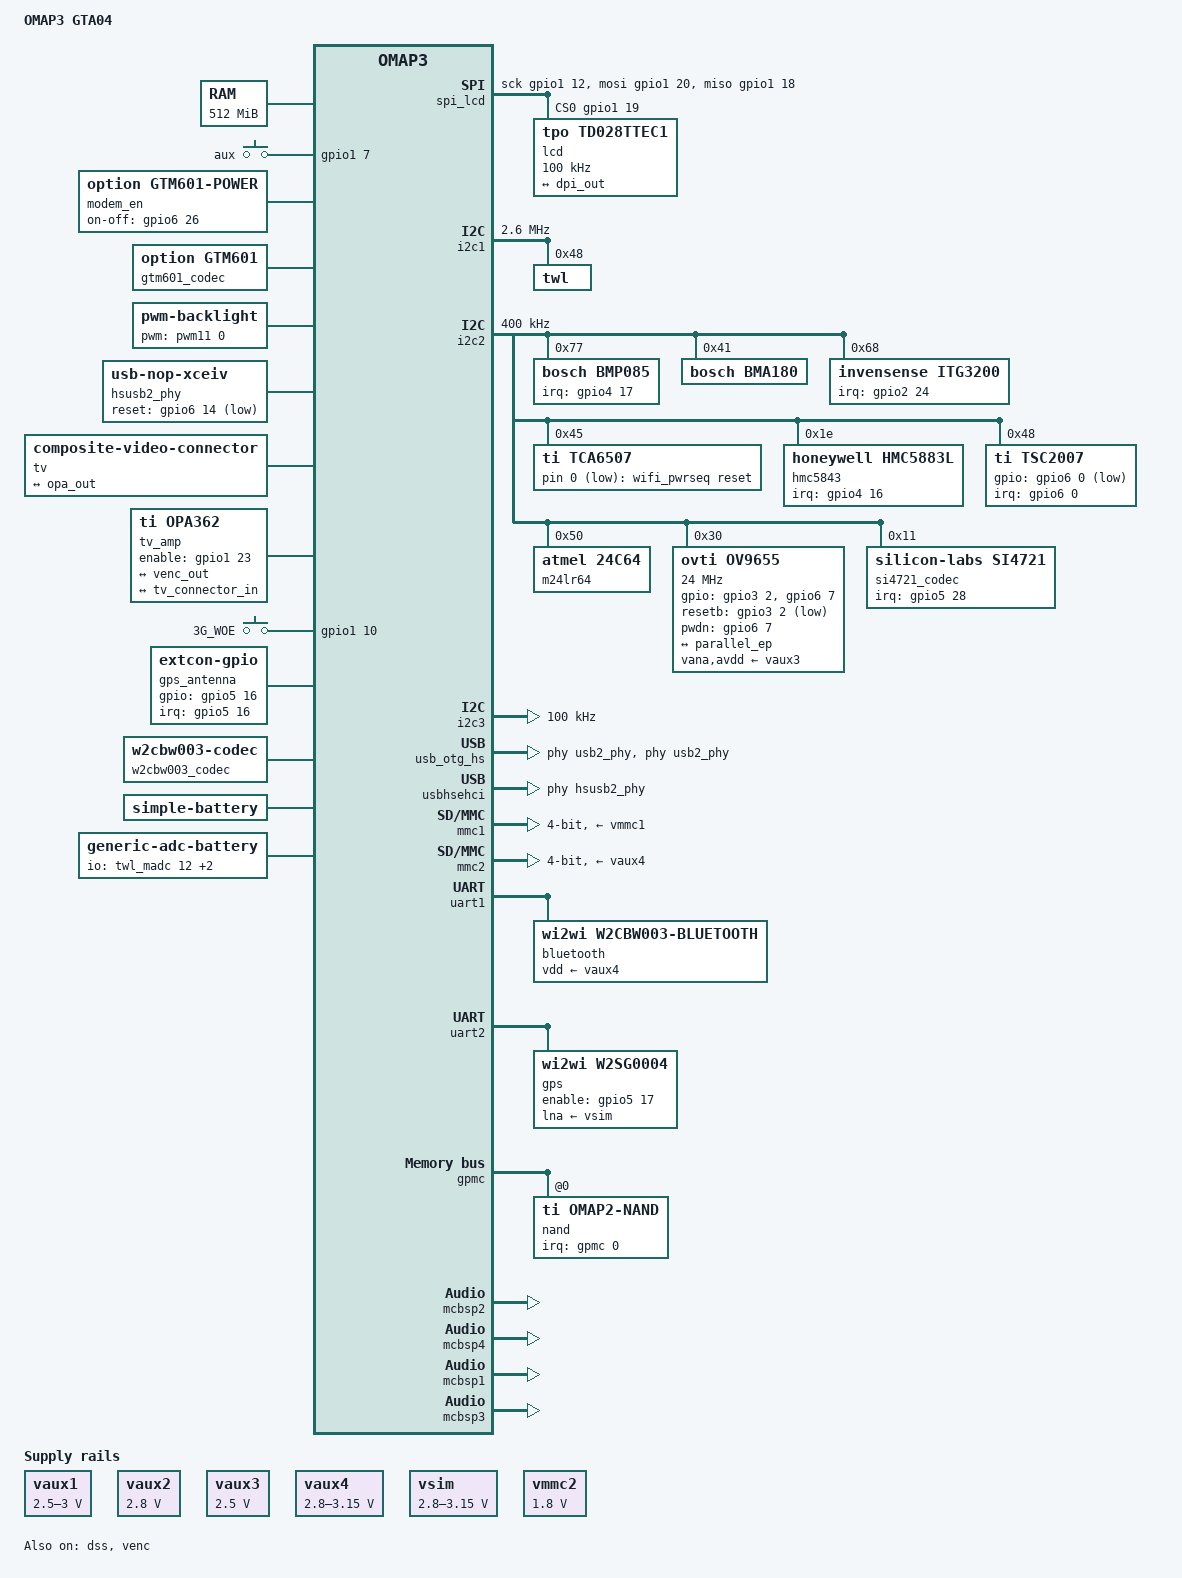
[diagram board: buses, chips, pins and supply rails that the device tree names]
/*
 * Copyright (C) 2013 Marek Belisko <marek@goldelico.com>
 *
 * Based on omap3-beagle-xm.dts
 *
 * This program is free software; you can redistribute it and/or modify
 * it under the terms of the GNU General Public License version 2 as
 * published by the Free Software Foundation.
 */
/dts-v1/;

#include "omap36xx.dtsi"

/ {
	model = "OMAP3 GTA04";
	compatible = "ti,omap3-gta04", "ti,omap36xx", "ti,omap3";

	cpus {
		cpu@0 {
			cpu0-supply = <&vcc>;
		};
	};

	memory@80000000 {
		device_type = "memory";
		reg = <0x80000000 0x20000000>; /* 512 MB */
	};

	aliases {
		display0 = &lcd;
		display1 = &tv0;
	};

	gpio-keys {
		compatible = "gpio-keys";
		// FIXME: pinmux

		aux-button {
			label = "aux";
			linux,code = <169>;
			gpios = <&gpio1 7 GPIO_ACTIVE_HIGH>;
			wakeup-source;
		};
	};

	modem_en: modem { /* control modem power through rfkill */
		compatible = "option,gtm601-power";
		/* compatible = "gemalto,phs8-power" for Neo900/GTA04b7 */
		gpio-controller;
		#gpio-cells = <2>;
		pinctrl-names = "default";
		pinctrl-0 = <&modem_pins>;
		usb-port = <&hsusb2_phy>;
		on-off-gpio = <&gpio6 26 0>;	/* GPIO_186: trigger to power on modem */
		on-indicator-gpio = <0>;		/* n/a on GTA04A3/4 but on A5 */
	};

	sound {
		compatible = "ti,omap-twl4030";
		ti,model = "gta04";

		ti,mcbsp = <&mcbsp2>;
	};

	/* GSM audio */
	sound_telephony {
		compatible = "simple-audio-card";
		simple-audio-card,name = "GTA04 voice";
		simple-audio-card,bitclock-master = <&telephony_link_master>;
		simple-audio-card,frame-master = <&telephony_link_master>;
		simple-audio-card,format = "i2s";
		simple-audio-card,bitclock-inversion;
		simple-audio-card,frame-inversion;
		simple-audio-card,cpu {
			sound-dai = <&mcbsp4>;
		};

		telephony_link_master: simple-audio-card,codec {
			sound-dai = <&gtm601_codec>;
		};
	};

	gtm601_codec: gsm_codec {
		compatible = "option,gtm601";
		#sound-dai-cells = <0>;
	};

	spi_lcd: spi_lcd {
		compatible = "spi-gpio";
		#address-cells = <0x1>;
		#size-cells = <0x0>;
		pinctrl-names = "default";
		pinctrl-0 = <&spi_gpio_pins>;

		gpio-sck = <&gpio1 12 GPIO_ACTIVE_HIGH>;
		gpio-miso = <&gpio1 18 GPIO_ACTIVE_HIGH>;
		gpio-mosi = <&gpio1 20 GPIO_ACTIVE_HIGH>;
		cs-gpios = <&gpio1 19 GPIO_ACTIVE_HIGH>;
		num-chipselects = <1>;

		/* lcd panel */
		lcd: td028ttec1@0 {
			compatible = "tpo,td028ttec1";
			reg = <0>;
			spi-max-frequency = <100000>;
			spi-cpol;
			spi-cpha;

			label = "lcd";
			port {
				lcd_in: endpoint {
					remote-endpoint = <&dpi_out>;
				};
			};
		};
	};

	backlight {
		compatible = "pwm-backlight";
		pwms = <&pwm11 0 12000000 0>;
		pwm-names = "backlight";
		brightness-levels = <0 11 20 30 40 50 60 70 80 90 100>;
		default-brightness-level = <9>;	/* => 90 */
		pinctrl-names = "default";
		pinctrl-0 = <&backlight_pins>;
	};

	pwm11: dmtimer-pwm {
		compatible = "ti,omap-dmtimer-pwm";
		ti,timers = <&timer11>;
		#pwm-cells = <3>;
	};

	hsusb2_phy: hsusb2_phy {
		compatible = "usb-nop-xceiv";
		reset-gpios = <&gpio6 14 GPIO_ACTIVE_LOW>; /* GPIO_174 = reset for USB3322 */
/*		vcc-supply = <&hsusb2_power>; */
	};

	tv0: connector {
		compatible = "composite-video-connector";
		label = "tv";

		port {
			tv_connector_in: endpoint {
				remote-endpoint = <&opa_out>;
			};
		};
	};

	tv_amp: opa362 {
		compatible = "ti,opa362";
		enable-gpios = <&gpio1 23 GPIO_ACTIVE_HIGH>;	/* GPIO_23 to enable video out amplifier */

		ports {
			#address-cells = <1>;
			#size-cells = <0>;

			port@0 {
				reg = <0>;
				opa_in: endpoint {
					remote-endpoint = <&venc_out>;
				};
			};

			port@1 {
				reg = <0>;
				opa_out: endpoint {
					remote-endpoint = <&tv_connector_in>;
				};
			};
		};
	};

	wifi_pwrseq: wifi_pwrseq {
		compatible = "mmc-pwrseq-simple";
		reset-gpios = <&tca6507 0 GPIO_ACTIVE_LOW>;	/* W2CBW003 reset through tca6507 */
	};

};

&omap3_pmx_core {
	pinctrl-names = "default";
	pinctrl-0 = <
			&hsusb2_pins
	>;

	hsusb2_pins: pinmux_hsusb2_pins {
		pinctrl-single,pins = <
			OMAP3_CORE1_IOPAD(0x21d4, PIN_INPUT_PULLDOWN | MUX_MODE3)	/* mcspi1_cs3.hsusb2_data2 */
			OMAP3_CORE1_IOPAD(0x21d6, PIN_INPUT_PULLDOWN | MUX_MODE3)	/* mcspi2_clk.hsusb2_data7 */
			OMAP3_CORE1_IOPAD(0x21d8, PIN_INPUT_PULLDOWN | MUX_MODE3)	/* mcspi2_simo.hsusb2_data4 */
			OMAP3_CORE1_IOPAD(0x21da, PIN_INPUT_PULLDOWN | MUX_MODE3)	/* mcspi2_somi.hsusb2_data5 */
			OMAP3_CORE1_IOPAD(0x21dc, PIN_INPUT_PULLDOWN | MUX_MODE3)	/* mcspi2_cs0.hsusb2_data6 */
			OMAP3_CORE1_IOPAD(0x21de, PIN_INPUT_PULLDOWN | MUX_MODE3)	/* mcspi2_cs1.hsusb2_data3 */
		>;
	};

	uart1_pins: pinmux_uart1_pins {
		pinctrl-single,pins = <
			OMAP3_CORE1_IOPAD(0x2182, PIN_INPUT | MUX_MODE0)		/* uart1_rx.uart1_rx */
			OMAP3_CORE1_IOPAD(0x217c, PIN_OUTPUT | MUX_MODE0)		/* uart1_tx.uart1_tx */
			/* what about rts/cts? */
		>;
	};

	uart2_pins: pinmux_uart2_pins {
		pinctrl-single,pins = <
			OMAP3_CORE1_IOPAD(0x217a, PIN_INPUT | MUX_MODE0)		/* uart2_rx.uart2_rx */
			OMAP3_CORE1_IOPAD(0x2178, PIN_OUTPUT | MUX_MODE0)		/* uart2_tx.uart2_tx */
/* FIXME: should also define GPIO_145 as output */
			/* what about rts/cts? */
		>;
	};

	uart3_pins: pinmux_uart3_pins {
		pinctrl-single,pins = <
			OMAP3_CORE1_IOPAD(0x219e, PIN_INPUT | MUX_MODE0)		/* uart3_rx.uart3_rx */
			OMAP3_CORE1_IOPAD(0x21a0, PIN_OUTPUT | MUX_MODE0)		/* uart3_tx.uart3_tx */
			/* what about rts/cts etc.? */
			/* enable gpio21 as output for DTR */
		>;
	};

	mmc1_pins: pinmux_mmc1_pins {
		pinctrl-single,pins = <
			OMAP3_CORE1_IOPAD(0x2144, PIN_INPUT_PULLUP | MUX_MODE0)		/* sdmmc1_clk.sdmmc1_clk */
			OMAP3_CORE1_IOPAD(0x2146, PIN_INPUT_PULLUP | MUX_MODE0)		/* sdmmc1_cmd.sdmmc1_cmd */
			OMAP3_CORE1_IOPAD(0x2148, PIN_INPUT_PULLUP | MUX_MODE0)		/* sdmmc1_dat0.sdmmc1_dat0 */
			OMAP3_CORE1_IOPAD(0x214a, PIN_INPUT_PULLUP | MUX_MODE0)		/* sdmmc1_dat1.sdmmc1_dat1 */
			OMAP3_CORE1_IOPAD(0x214c, PIN_INPUT_PULLUP | MUX_MODE0)		/* sdmmc1_dat2.sdmmc1_dat2 */
			OMAP3_CORE1_IOPAD(0x214e, PIN_INPUT_PULLUP | MUX_MODE0)		/* sdmmc1_dat3.sdmmc1_dat3 */
		>;
	};

	backlight_pins: backlight_pins_pimnux {
		pinctrl-single,pins = <
			OMAP3_CORE1_IOPAD(0x20ba, MUX_MODE3)		/* gpt11/gpio57 */
		>;
	};

	dss_dpi_pins: pinmux_dss_dpi_pins {
		pinctrl-single,pins = <
			OMAP3_CORE1_IOPAD(0x20d4, PIN_OUTPUT | MUX_MODE0)   /* dss_pclk.dss_pclk */
			OMAP3_CORE1_IOPAD(0x20d6, PIN_OUTPUT | MUX_MODE0)   /* dss_hsync.dss_hsync */
			OMAP3_CORE1_IOPAD(0x20d8, PIN_OUTPUT | MUX_MODE0)   /* dss_vsync.dss_vsync */
			OMAP3_CORE1_IOPAD(0x20da, PIN_OUTPUT | MUX_MODE0)   /* dss_acbias.dss_acbias */
			OMAP3_CORE1_IOPAD(0x20dc, PIN_OUTPUT | MUX_MODE0)   /* dss_data0.dss_data0 */
			OMAP3_CORE1_IOPAD(0x20de, PIN_OUTPUT | MUX_MODE0)   /* dss_data1.dss_data1 */
			OMAP3_CORE1_IOPAD(0x20e0, PIN_OUTPUT | MUX_MODE0)   /* dss_data2.dss_data2 */
			OMAP3_CORE1_IOPAD(0x20e2, PIN_OUTPUT | MUX_MODE0)   /* dss_data3.dss_data3 */
			OMAP3_CORE1_IOPAD(0x20e4, PIN_OUTPUT | MUX_MODE0)   /* dss_data4.dss_data4 */
			OMAP3_CORE1_IOPAD(0x20e6, PIN_OUTPUT | MUX_MODE0)   /* dss_data5.dss_data5 */
			OMAP3_CORE1_IOPAD(0x20e8, PIN_OUTPUT | MUX_MODE0)   /* dss_data6.dss_data6 */
			OMAP3_CORE1_IOPAD(0x20ea, PIN_OUTPUT | MUX_MODE0)   /* dss_data7.dss_data7 */
			OMAP3_CORE1_IOPAD(0x20ec, PIN_OUTPUT | MUX_MODE0)   /* dss_data8.dss_data8 */
			OMAP3_CORE1_IOPAD(0x20ee, PIN_OUTPUT | MUX_MODE0)   /* dss_data9.dss_data9 */
			OMAP3_CORE1_IOPAD(0x20f0, PIN_OUTPUT | MUX_MODE0)   /* dss_data10.dss_data10 */
			OMAP3_CORE1_IOPAD(0x20f2, PIN_OUTPUT | MUX_MODE0)   /* dss_data11.dss_data11 */
			OMAP3_CORE1_IOPAD(0x20f4, PIN_OUTPUT | MUX_MODE0)   /* dss_data12.dss_data12 */
			OMAP3_CORE1_IOPAD(0x20f6, PIN_OUTPUT | MUX_MODE0)   /* dss_data13.dss_data13 */
			OMAP3_CORE1_IOPAD(0x20f8, PIN_OUTPUT | MUX_MODE0)   /* dss_data14.dss_data14 */
			OMAP3_CORE1_IOPAD(0x20fa, PIN_OUTPUT | MUX_MODE0)   /* dss_data15.dss_data15 */
			OMAP3_CORE1_IOPAD(0x20fc, PIN_OUTPUT | MUX_MODE0)   /* dss_data16.dss_data16 */
			OMAP3_CORE1_IOPAD(0x20fe, PIN_OUTPUT | MUX_MODE0)   /* dss_data17.dss_data17 */
			OMAP3_CORE1_IOPAD(0x2100, PIN_OUTPUT | MUX_MODE0)   /* dss_data18.dss_data18 */
			OMAP3_CORE1_IOPAD(0x2102, PIN_OUTPUT | MUX_MODE0)   /* dss_data19.dss_data19 */
			OMAP3_CORE1_IOPAD(0x2104, PIN_OUTPUT | MUX_MODE0)   /* dss_data20.dss_data20 */
			OMAP3_CORE1_IOPAD(0x2106, PIN_OUTPUT | MUX_MODE0)   /* dss_data21.dss_data21 */
			OMAP3_CORE1_IOPAD(0x2108, PIN_OUTPUT | MUX_MODE0)   /* dss_data22.dss_data22 */
			OMAP3_CORE1_IOPAD(0x210a, PIN_OUTPUT | MUX_MODE0)   /* dss_data23.dss_data23 */
		>;
	};

	modem_pins: modem_pins {
		pinctrl-single,pins = <
			OMAP3_CORE1_IOPAD(0x21e2, PIN_OUTPUT | MUX_MODE4) /* gpio186 */
		>;
	};

	hdq_pins: hdq_pins {
		pinctrl-single,pins = <
			OMAP3_CORE1_IOPAD(0x21c6, PIN_INPUT_PULLUP | MUX_MODE0) /* i2c3_sda.hdq */
		>;
	};

	bma180_pins: pinmux_bma180_pins {
		pinctrl-single,pins = <
			OMAP3_CORE1_IOPAD(0x213a, PIN_INPUT_PULLUP | MUX_MODE4) /* gpio115 */
		>;
	};

	itg3200_pins: pinmux_itg3200_pins {
		pinctrl-single,pins = <
			OMAP3_CORE1_IOPAD(0x20b8, PIN_INPUT_PULLUP | MUX_MODE4) /* gpio56 */
		>;
	};

	hmc5843_pins: pinmux_hmc5843_pins {
		pinctrl-single,pins = <
			OMAP3_CORE1_IOPAD(0x2134, PIN_INPUT_PULLUP | MUX_MODE4) /* gpio112 */
		>;
	};

	penirq_pins: pinmux_penirq_pins {
		pinctrl-single,pins = <
			/* here we could enable to wakeup the cpu from suspend by a pen touch */
			OMAP3_CORE1_IOPAD(0x2194, PIN_INPUT_PULLUP | MUX_MODE4) /* gpio160 */
		>;
	};
};

&omap3_pmx_core2 {
	pinctrl-names = "default";
	pinctrl-0 = <
			&hsusb2_2_pins
	>;

	hsusb2_2_pins: pinmux_hsusb2_2_pins {
		pinctrl-single,pins = <
			OMAP3630_CORE2_IOPAD(0x25f0, PIN_OUTPUT | MUX_MODE3)		/* etk_d10.hsusb2_clk */
			OMAP3630_CORE2_IOPAD(0x25f2, PIN_OUTPUT | MUX_MODE3)		/* etk_d11.hsusb2_stp */
			OMAP3630_CORE2_IOPAD(0x25f4, PIN_INPUT_PULLDOWN | MUX_MODE3)	/* etk_d12.hsusb2_dir */
			OMAP3630_CORE2_IOPAD(0x25f6, PIN_INPUT_PULLDOWN | MUX_MODE3)	/* etk_d13.hsusb2_nxt */
			OMAP3630_CORE2_IOPAD(0x25f8, PIN_INPUT_PULLDOWN | MUX_MODE3)	/* etk_d14.hsusb2_data0 */
			OMAP3630_CORE2_IOPAD(0x25fa, PIN_INPUT_PULLDOWN | MUX_MODE3)	/* etk_d15.hsusb2_data1 */
		>;
	};

	spi_gpio_pins: spi_gpio_pinmux {
		pinctrl-single,pins = <
			OMAP3630_CORE2_IOPAD(0x25d8, PIN_OUTPUT | MUX_MODE4) /* clk */
			OMAP3630_CORE2_IOPAD(0x25e6, PIN_OUTPUT | MUX_MODE4) /* cs */
			OMAP3630_CORE2_IOPAD(0x25e8, PIN_OUTPUT | MUX_MODE4) /* tx */
			OMAP3630_CORE2_IOPAD(0x25e4, PIN_INPUT | MUX_MODE4) /* rx */
		>;
	};
};

&i2c1 {
	clock-frequency = <2600000>;

	twl: twl@48 {
		reg = <0x48>;
		interrupts = <7>; /* SYS_NIRQ cascaded to intc */
		interrupt-parent = <&intc>;

		twl_audio: audio {
			compatible = "ti,twl4030-audio";

			ti,enable-vibra = <1>;

			codec {
				ti,ramp_delay_value = <3>;
			};
		};

		twl_power: power {
			compatible = "ti,twl4030-power";
			ti,use_poweroff;
		};
	};
};

#include "twl4030.dtsi"
#include "twl4030_omap3.dtsi"

&i2c2 {
	clock-frequency = <400000>;

	/* pressure sensor */
	bmp085@77 {
		compatible = "bosch,bmp085";
		reg = <0x77>;
/* here we could enable the EOC interrupt
		pinctrl-names = "default";
		pinctrl-0 = <&bmp085_pins>;
*/
		interrupt-parent = <&gpio4>;
		interrupts = <17 IRQ_TYPE_EDGE_RISING>; /* GPIO_113 */
	};

	/* accelerometer */
	bma180@41 {
		/* we use the BMA150 Input (CONFIG_INPUT_BMA150) driver */
		compatible = "bosch,bma180";
		reg = <0x41>;
		pinctrl-names = "default";
		pintcrl-0 = <&bma180_pins>;
// disabled, to make it a polling input device
//		interrupt-parent = <&gpio4>;
//		interrupts = <19 (IRQ_TYPE_LEVEL_HIGH | IRQ_TYPE_EDGE_RISING)>; /* GPIO_115 */
	};

	/* gyroscope */
	itg3200@68 {
		compatible = "invensense,itg3200";
		reg = <0x68>;
		pinctrl-names = "default";
		pinctrl-0 = <&itg3200_pins>;
		interrupt-parent = <&gpio2>;
		interrupts = <24 IRQ_TYPE_EDGE_FALLING>; /* GPIO_56 */
	};

	/* leds + gpios */
	tca6507: tca6507@45 {
		compatible = "ti,tca6507";
		#address-cells = <1>;
		#size-cells = <0>;
		reg = <0x45>;

		gpio-controller;
		#gpio-cells = <2>;

		gta04_led0: red_aux@0 {
			label = "gta04:red:aux";
			reg = <0x0>;
		};

		gta04_led1: green_aux@1 {
			label = "gta04:green:aux";
			reg = <0x1>;
		};

		gta04_led3: red_power@3 {
			label = "gta04:red:power";
			reg = <0x3>;
			linux,default-trigger = "default-on";
		};

		gta04_led4: green_power@4 {
			label = "gta04:green:power";
			reg = <0x4>;
		};

		wifi_reset: wifi_reset@6 { /* reference as <&tca_gpios 0 0> since it is currently the only GPIO */
			reg = <0x6>;
			compatible = "gpio";
		};
	};

	/* compass aka magnetometer */
	hmc5843@1e {
		compatible = "honeywell,hmc5883l";
		reg = <0x1e>;
		pinctrl-names = "default";
		pinctrl-0 = <&hmc5843_pins>;
		interrupt-parent = <&gpio4>;
		interrupts = <16 IRQ_TYPE_EDGE_FALLING>;	/* gpio112 */
	};

	/* touchscreen */
	tsc2007@48 {
		compatible = "ti,tsc2007";
		reg = <0x48>;
		pinctrl-names = "default";
		pinctrl-0 = <&penirq_pins>;
		interrupt-parent = <&gpio6>;
		interrupts = <0 IRQ_TYPE_EDGE_FALLING>; /* GPIO_160 */
		gpios = <&gpio6 0 GPIO_ACTIVE_LOW>;	/* GPIO_160 */
		ti,x-plate-ohms = <600>;
		touchscreen-size-x = <480>;
		touchscreen-size-y = <640>;
		touchscreen-max-pressure = <1000>;
		touchscreen-fuzz-x = <3>;
		touchscreen-fuzz-y = <8>;
		touchscreen-fuzz-pressure = <10>;
		touchscreen-inverted-y;
	};

	/* RFID EEPROM */
	m24lr64@50 {
		compatible = "atmel,24c64";
		reg = <0x50>;
	};
};

&i2c3 {
	clock-frequency = <100000>;
};

&usb_otg_hs {
	interface-type = <0>;
	usb-phy = <&usb2_phy>;
	phys = <&usb2_phy>;
	phy-names = "usb2-phy";
	mode = <3>;
	power = <50>;
};

&usbhshost {
	port2-mode = "ehci-phy";
};

&usbhsehci {
	phys = <0 &hsusb2_phy>;
};

&mmc1 {
	pinctrl-names = "default";
	pinctrl-0 = <&mmc1_pins>;
	vmmc-supply = <&vmmc1>;
	bus-width = <4>;
	ti,non-removable;	/* remove ti, */
};

&mmc2 {
	vmmc-supply = <&vaux4>;
	bus-width = <4>;
	ti,non-removable;	/* remove ti, */
	mmc-pwrseq = <&wifi_pwrseq>;
	cap-power-off-card;	/* remove! */
};

&mmc3 {
	status = "disabled";
};

&twl_keypad {
	status = "disabled";
};

&uart1 {
	pinctrl-names = "default";
	pinctrl-0 = <&uart1_pins>;

	bluetooth: bluetooth {
		compatible = "wi2wi,w2cbw003-bluetooth";
		vdd-supply = <&vaux4>;
	};
};

&uart2 {
	pinctrl-names = "default";
	pinctrl-0 = <&uart2_pins>;

	gps: gps {
		compatible = "wi2wi,w2sg0004";
		lna-supply = <&vsim>;   /* LNA regulator */
		/* GPIO_145: trigger for on/off-impulse for w2sg0004 */
		enable-gpios = <&gpio5 17 GPIO_ACTIVE_HIGH>;
	};
};

&uart3 {
	pinctrl-names = "default";
	pinctrl-0 = <&uart3_pins>;

	rs232: rs232 {
		status = "disabled";
		compatible = "ti,trs3386-mctrl";
		gpios = <0>,		/* ... */
			<&gpio1 21 0>;	/* DTR: GPIO_21 */
	};
};

&charger {
	ti,bb-uvolt = <3200000>;
	ti,bb-uamp = <150>;
};

/* spare */
&vaux1 {
	regulator-min-microvolt = <2500000>;
	regulator-max-microvolt = <3000000>;
};

/* sensors */
&vaux2 {
	regulator-min-microvolt = <2800000>;
	regulator-max-microvolt = <2800000>;
	regulator-always-on;	/* we should never switch off while vio is on! */
};

/* camera */
&vaux3 {
	regulator-min-microvolt = <2500000>;
	regulator-max-microvolt = <2500000>;
};

/* WLAN/BT */
&vaux4 {
	regulator-min-microvolt = <2800000>;
	regulator-max-microvolt = <3150000>;
};

/* GPS LNA */
&vsim {
	regulator-min-microvolt = <2800000>;
	regulator-max-microvolt = <3150000>;
};

/* Needed to power the DPI pins */

&vpll2 {
	regulator-always-on;
};

&dss {
	pinctrl-names = "default";
	pinctrl-0 = < &dss_dpi_pins >;

	status = "okay";
	vdds_dsi-supply = <&vpll2>;

	port {
		dpi_out: endpoint {
			remote-endpoint = <&lcd_in>;
			data-lines = <24>;
		};
	};
};

&venc {
	status = "okay";

	vdda-supply = <&vdac>;

	#address-cells = <1>;
	#size-cells = <0>;

	port {
		reg = <0>;
		venc_out: endpoint {
			remote-endpoint = <&opa_in>;
			ti,channels = <1>;
			ti,invert-polarity;
		};
	};
};

&gpmc {
	ranges = <0 0 0x30000000 0x1000000>; /* CS0: 16MB for NAND */

	nand@0,0 {
		compatible = "ti,omap2-nand";
		reg = <0 0 4>; /* CS0, offset 0, IO size 4 */
		interrupt-parent = <&gpmc>;
		interrupts = <0 IRQ_TYPE_NONE>, /* fifoevent */
			     <1 IRQ_TYPE_NONE>;	/* termcount */
		nand-bus-width = <16>;
		ti,nand-ecc-opt = "bch8";

		gpmc,sync-clk-ps = <0>;
		gpmc,cs-on-ns = <0>;
		gpmc,cs-rd-off-ns = <44>;
		gpmc,cs-wr-off-ns = <44>;
		gpmc,adv-on-ns = <6>;
		gpmc,adv-rd-off-ns = <34>;
		gpmc,adv-wr-off-ns = <44>;
		gpmc,we-off-ns = <40>;
		gpmc,oe-off-ns = <54>;
		gpmc,access-ns = <64>;
		gpmc,rd-cycle-ns = <82>;
		gpmc,wr-cycle-ns = <82>;
		gpmc,wr-access-ns = <40>;
		gpmc,wr-data-mux-bus-ns = <0>;
		gpmc,device-width = <2>;

		#address-cells = <1>;
		#size-cells = <1>;

		x-loader@0 {
			label = "X-Loader";
			reg = <0 0x80000>;
		};

		bootloaders@80000 {
			label = "U-Boot";
			reg = <0x80000 0x1c0000>;
		};

		bootloaders_env@240000 {
			label = "U-Boot Env";
			reg = <0x240000 0x40000>;
		};

		kernel@280000 {
			label = "Kernel";
			reg = <0x280000 0x600000>;
		};

		filesystem@880000 {
			label = "File System";
			reg = <0x880000 0>;	/* 0 = MTDPART_SIZ_FULL */
		};
	};
};

&mcbsp2 {
	status = "okay";
};

&hdqw1w {
        pinctrl-names = "default";
        pinctrl-0 = <&hdq_pins>;
};

&mcbsp4 {
	status = "okay";
};

/*
 * additions not yet upstreamed
 * and work in progress
 * as soon as something is stable, it should be casted into a
 *    patch for code above and upstreamed
 * as soon as it arrives upstream, we can remove it here
 */

/ {

	aliases {
		display1 = &tv0;
	};

	/* pinmux for devconf1 */
	control_devconf1: pinmux@480022d8 {
		compatible = "pinctrl-single";
		reg = <0x480022d8 4>;	/* CONTROL_DEVCONF1 */
		#address-cells = <1>;
		#size-cells = <0>;
		pinctrl-single,bit-per-mux;
		pinctrl-single,register-width = <32>;
		pinctrl-single,function-mask = <0x81>;	/* TV control */
	};

	gpio-keys-wwan-wakeup {
		compatible = "gpio-keys";
		// FIXME: pinmux

		wwan_wakeup_button: wwan-wakeup-button {
			label = "3G_WOE";
			linux,code = <240>;
			gpios = <&gpio1 10 GPIO_ACTIVE_HIGH>;
			gpio-key,wakeup;
		};
	};

	antenna-detect {
		compatible = "extcon-gpio";
		label = "gps_antenna";
		// FIXME: pinmux
		gpios = <&gpio5 16 GPIO_ACTIVE_HIGH>; /* GPIO144 */
		debounce-delay-ms = <10>;
		interrupt-parent = <&gpio5>;
		interrupts = <16 IRQ_TYPE_EDGE_BOTH>;
		irq-flags = <IRQ_TYPE_EDGE_BOTH>;
		state-on = "external";
		state-off = "internal";
	};

	w2cbw003_codec: headset_codec {
		compatible = "w2cbw003-codec";
		#sound-dai-cells = <0>;
	};

	madc-hwmon {
		compatible = "ti,twl4030-madc-hwmon";
	};

#include <dt-bindings/power/power.h>

	bat: battery {
		compatible = "simple-battery", "gta04-battery";
		voltage-min-design-microvolt = <3200000>;
		energy-full-design-microwatt-hours = <4440000>;
		charge-full-design-microamp-hours = <1250000>;
	};

	battery: battery-monitor {
		compatible = "linux,generic-adc-battery";
		io-channels = <&twl_madc 12>, <&twl_madc 10>, <&twl_madc 0>;
		io-channel-names = "voltage", "current", "temperature";
		monitored-battery = <&bat>;
		technology = <POWER_SUPPLY_TECHNOLOGY_LION>;
		battery-name = "gta04-battery";
		charge_full_design = <4000>;
		charge_empty_design = <3500>;
		voltage_min_design = <100>;
		voltage_max_design = <4300>;
	};

	/* Bluetooth audio */
	sound_bluetooth {
		compatible = "simple-audio-card";
		simple-audio-card,name = "GTA04 bluetooth";
		simple-audio-card,bitclock-master = <&bt_link_master>;
		simple-audio-card,frame-master = <&bt_link_master>;
		simple-audio-card,format = "i2s";

		simple-audio-card,cpu {
			sound-dai = <&mcbsp3>;
		};

		bt_link_master: simple-audio-card,codec {
			sound-dai = <&w2cbw003_codec>;
		};
	};

	sound_fmradio {
		compatible = "simple-audio-card";
		simple-audio-card,name = "GTA04 fm-radio";

		/* FM tuner audio */
		simple-audio-card,dai-link@0 {
			format = "i2s";
			cpu {
				sound-dai = <&mcbsp1>;
			};
			codec {
				sound-dai = <&si4721_codec>;
			};
		};
	};
};

/* not yet upstream */

&omap3_pmx_core {

	uart2_rx_irq_pins: pinmux_uart2_rx_irq_pins {
		pinctrl-single,pins = <
			/* switch RX to GPIO so that we can get interrupts by the start bit */
			OMAP3_CORE1_IOPAD(0x217a, PIN_INPUT | MUX_MODE4)	/* uart2_rx.uart2_rx */
			OMAP3_CORE1_IOPAD(0x2178, PIN_OUTPUT | MUX_MODE0)	/* uart2_tx.uart2_tx */
		>;
	};

	mcbsp1_pins: pinmux_mcbsp1_pins {
		pinctrl-single,pins = <
			OMAP3_CORE1_IOPAD(0x218c, PIN_INPUT | MUX_MODE4)	/* mcbsp1_clkr.mcbsp1_clkr - gpio_156 FM interrupt */
			OMAP3_CORE1_IOPAD(0x218e, PIN_OUTPUT | MUX_MODE0)	/* mcbsp1_clkr.mcbsp1_fsr */
			OMAP3_CORE1_IOPAD(0x2190, PIN_OUTPUT | MUX_MODE0)	/* mcbsp1_dx.mcbsp1_dx */
			OMAP3_CORE1_IOPAD(0x2192, PIN_INPUT | MUX_MODE0)	/* mcbsp1_dx.mcbsp1_dr */
			/* used as PENIRQ
			   OMAP3_CORE1_IOPAD(0x2194, PIN_INPUT | MUX_MODE0)	/* mcbsp_clks.mcbsp_clks */
			OMAP3_CORE1_IOPAD(0x2196, PIN_INPUT | MUX_MODE0)	/* mcbsp_clks.mcbsp1_fsx */
			OMAP3_CORE1_IOPAD(0x2198, PIN_INPUT | MUX_MODE0)	/* mcbsp1_clkx.mcbsp1_clkx */
		>;
	};

	mcbsp2_pins: pinmux_mcbsp2_pins {
		pinctrl-single,pins = <
			OMAP3_CORE1_IOPAD(0x213c, PIN_INPUT | MUX_MODE0)	/* mcbsp2_fsx.mcbsp2_fsx */
			OMAP3_CORE1_IOPAD(0x213e, PIN_INPUT | MUX_MODE0)	/* mcbsp2_fsx.mcbsp2_clkx */
			OMAP3_CORE1_IOPAD(0x2140, PIN_INPUT | MUX_MODE0)	/* mcbsp2_dr.mcbsp2_dr */
			OMAP3_CORE1_IOPAD(0x2142, PIN_OUTPUT | MUX_MODE0)	/* mcbsp2_dr.mcbsp2_dx */
		>;
	};

	mcbsp3_pins: pinmux_mcbsp3_pins {
		pinctrl-single,pins = <
			OMAP3_CORE1_IOPAD(0x216c, PIN_OUTPUT | MUX_MODE0)	/* mcbsp3_dx.mcbsp3_dx */
			OMAP3_CORE1_IOPAD(0x216e, PIN_INPUT | MUX_MODE0)	/* mcbsp3_dx.mcbsp3_dr */
			OMAP3_CORE1_IOPAD(0x2170, PIN_INPUT | MUX_MODE0)	/* mcbsp3_clkx.mcbsp3_clkx */
			OMAP3_CORE1_IOPAD(0x2172, PIN_INPUT | MUX_MODE0)	/* mcbsp3_clkx.mcbsp3_fsx */
		>;
	};

	mcbsp4_pins: pinmux_mcbsp4_pins {
		pinctrl-single,pins = <
			OMAP3_CORE1_IOPAD(0x2184, PIN_INPUT_PULLDOWN | MUX_MODE0)	/* mcbsp4_clkx.mcbsp4_clkx */
			OMAP3_CORE1_IOPAD(0x2186, PIN_INPUT_PULLDOWN | MUX_MODE0)	/* mcbsp4_clkx.mcbsp4_dr */
			OMAP3_CORE1_IOPAD(0x218a, PIN_INPUT_PULLDOWN | MUX_MODE0)	/* mcbsp4_dx.mcbsp4_fsx */
		>;
	};

	/* if twl4030 voice interface is inactive the omap3 mcbsp4 can drive the dx line */
	mcbsp4_twl_inactive: pinmux_mcbsp4_twl_inactive {
		pinctrl-single,pins = <
			OMAP3_CORE1_IOPAD(0x2188, PIN_OUTPUT | MUX_MODE0)	/* mcbsp4_dx.mcbsp4_dx */
		>;
	};

	/* if twl4030 voice interface is active the omap3 mcbsp4 should not drive the dx line */
	mcbsp4_twl_active: pinmux_mcbsp4_twl_active {
		pinctrl-single,pins = <
			OMAP3_CORE1_IOPAD(0x2188, PIN_INPUT_PULLDOWN | MUX_MODE7)	/* mcbsp4_dr.mcbsp4_dx */
		>;
	};

	i2c1_pins: pinmux_i2c1_pins {
		pinctrl-single,pins = <
			OMAP3_CORE1_IOPAD(0x21ba, PIN_INPUT_PULLUP | MUX_MODE0) /* i2c1_scl.i2c1_scl */
			OMAP3_CORE1_IOPAD(0x21bc, PIN_INPUT_PULLUP | MUX_MODE0) /* i2c1_sda.i2c1_sda */
		>;
	};

	i2c2_pins: pinmux_i2c2_pins {
		pinctrl-single,pins = <
			OMAP3_CORE1_IOPAD(0x21be, PIN_INPUT_PULLUP | MUX_MODE0) /* i2c2_scl.i2c2_scl */
			OMAP3_CORE1_IOPAD(0x21c0, PIN_INPUT_PULLUP | MUX_MODE0) /* i2c2_sda.i2c2_sda */
		>;
	};

	i2c3_pins: pinmux_i2c3_pins {
		pinctrl-single,pins = <
			OMAP3_CORE1_IOPAD(0x21c2, PIN_INPUT_PULLUP | MUX_MODE0) /* i2c3_scl.i2c3_scl */
			OMAP3_CORE1_IOPAD(0x21c4, PIN_INPUT_PULLUP | MUX_MODE0) /* i2c3_sda.i2c3_sda */
		>;
	};

	bmp085_pins: pinmux_bmp085_pins {
		pinctrl-single,pins = <
			OMAP3_CORE1_IOPAD(0x2136, PIN_INPUT_PULLUP | MUX_MODE4) /* gpio113 */
		>;
	};

	penirq_pins: pinmux_penirq_pins {
		pinctrl-single,pins = <
			/* here we could enable to wakeup the cpu from suspend by a pen touch */
			OMAP3_CORE1_IOPAD(0x2194, PIN_INPUT_PULLUP | MUX_MODE4) /* gpio160 */
		>;
	};

	camera_pins: pinmux_camera_pins {
		pinctrl-single,pins = <
			/* set up parallel camera interface */
			OMAP3_CORE1_IOPAD(0x210c, PIN_INPUT_PULLDOWN | MUX_MODE0) /* cam_hs */
			OMAP3_CORE1_IOPAD(0x210e, PIN_INPUT_PULLDOWN | MUX_MODE0) /* cam_vs */
			OMAP3_CORE1_IOPAD(0x2110, PIN_OUTPUT | MUX_MODE0) /* cam_xclka */
			OMAP3_CORE1_IOPAD(0x2112, PIN_INPUT_PULLDOWN | MUX_MODE0) /* cam_pclk */
			OMAP3_CORE1_IOPAD(0x2114, PIN_OUTPUT | MUX_MODE4) /* cam_fld = gpio_98 */
			OMAP3_CORE1_IOPAD(0x2116, PIN_INPUT_PULLDOWN | MUX_MODE0) /* cam_d0 */
			OMAP3_CORE1_IOPAD(0x2118, PIN_INPUT_PULLDOWN | MUX_MODE0) /* cam_d1 */
			OMAP3_CORE1_IOPAD(0x211a, PIN_INPUT_PULLDOWN | MUX_MODE0) /* cam_d2 */
			OMAP3_CORE1_IOPAD(0x211c, PIN_INPUT_PULLDOWN | MUX_MODE0) /* cam_d3 */
			OMAP3_CORE1_IOPAD(0x211e, PIN_INPUT_PULLDOWN | MUX_MODE0) /* cam_d4 */
			OMAP3_CORE1_IOPAD(0x2120, PIN_INPUT_PULLDOWN | MUX_MODE0) /* cam_d5 */
			OMAP3_CORE1_IOPAD(0x2122, PIN_INPUT_PULLDOWN | MUX_MODE0) /* cam_d6 */
			OMAP3_CORE1_IOPAD(0x2124, PIN_INPUT_PULLDOWN | MUX_MODE0) /* cam_d7 */
			OMAP3_CORE1_IOPAD(0x2126, PIN_INPUT_PULLDOWN | MUX_MODE0) /* cam_d8 */
			OMAP3_CORE1_IOPAD(0x2128, PIN_INPUT_PULLDOWN | MUX_MODE0) /* cam_d9 */
			OMAP3_CORE1_IOPAD(0x212a, PIN_INPUT_PULLDOWN | MUX_MODE0) /* cam_d10 */
			OMAP3_CORE1_IOPAD(0x212c, PIN_INPUT_PULLDOWN | MUX_MODE0) /* cam_d10 */
			OMAP3_CORE1_IOPAD(0x212e, PIN_OUTPUT | MUX_MODE0) /* cam_xclkb */
			OMAP3_CORE1_IOPAD(0x2130, PIN_OUTPUT | MUX_MODE4) /* cam_wen = gpio_167 */
			OMAP3_CORE1_IOPAD(0x2132, PIN_INPUT_PULLDOWN | MUX_MODE4) /* cam_strobe */
		>;
	};

	headset_pins: headset_pins_pimnux {
		pinctrl-single,pins = <
			OMAP3_CORE1_IOPAD(0x20b4, PIN_INPUT_PULLUP | MUX_MODE4)	/* gpio55 */
		>;
	};

};

&twl_madc {
	ti,system-uses-second-madc-irq;
};

&twl_power {
	compatible = "ti,twl4030-power-reset";
};

/* spare */
&vmmc2 {
	regulator-min-microvolt = <1800000>;
	regulator-max-microvolt = <1800000>;
};

&mmc2 {
	// remove cap-power-off-card;
	mmc-pwrseq = <&wifi_pwrseq>;
};

&i2c2 {
	/* flash/torch (torch driver not yet available) */
/* segfaults during modprobe
	tps61050@33 {
		compatible = "ti,tps61050";
		reg = <0x33>;

		flash: regulator@0 {
			regulator-min-microvolt= <1000000>;
			regulator-max-microvolt= <3000000>;
		};
	};
*/

	/* camera */
	ov9655@30 {
		pinctrl-names = "default";
		pinctrl-0 = <&camera_pins>;
		compatible = "ovti,ov9655";
		reg = <0x30>;
#if 1	/* support for old driver */
		gpios = <&gpio3 2 0>,	/* reset cam_fld = GPIO_98 */
			<&gpio6 7 0>;	/* pwdn cam_wen = GPIO_167 */
		vana-supply = <&vaux3>;
		clock-frequency = <24000000>;
#endif
		resetb-gpios = <&gpio3 2 GPIO_ACTIVE_LOW>;	/* reset cam_fld = GPIO_98 */
		pwdn-gpios = <&gpio6 7 GPIO_ACTIVE_HIGH>;	/* pwdn cam_wen = GPIO_167 */
		avdd-supply = <&vaux3>;
		clocks = <&isp 0>;	/* cam_clka */
		assigned-clocks = <&isp 0>;
		assigned-clock-rates = <24000000>;

		port {
			ov9655: endpoint {
				remote-endpoint = <&parallel_ep>;
#if 1
				bus-width = <8>;
			//	data-shift = <2>;	/* Lines 9:2 are used */
				hsync-active = <0>;	/* Active low */
				vsync-active = <1>;	/* Active high */
				data-active = <1>;	/* Active high */
				pclk-sample = <1>;	/* No pclk reverse */
				pclk-delay = <2>;	/* 4 ns */
				output-drive = <3>;	/* 4x */
#endif
			};
		};
	};

	/* FM Radio (no kernel driver exists) */
	si4721_codec: si4721@11 {
		compatible = "silicon-labs,si4721";

		interrupt-parent = <&gpio5>;
		interrupts = <28 IRQ_TYPE_EDGE_RISING>; /* GPIO_156 */

		#sound-dai-cells = <0>;
		reg = <0x11>;
	};

};

/* image signal processor within OMAP3 SoC */
&isp {
//	vdd-csiphy1-supply = <&vaux2>;
//	vdd-csiphy2-supply = <&vaux2>;
	ports {
		port@0 {
			reg = <0>;
			parallel_ep: endpoint {};
		};
#if 0
/* these ports are not used by GTA04 */
		port@1 {
			reg = <1>;
			csi1_ep: endpoint {};
		};

		port@2 {
			reg = <2>;
			csi2_ep: endpoint {};
		};
#endif
	};
};

/* parallel camera interface */
&parallel_ep {
	remote-endpoint = <&ov9655>;
	ti,isp-clock-divisor = <1>;
	ti,strobe-mode;
	bus-width = <8>;/* Used data lines */
	data-shift = <2>; /* Lines 9:2 are used */
	hsync-active = <0>; /* Active low */
	vsync-active = <1>; /* Active high */
	data-active = <1>;/* Active high */
	pclk-sample = <1>;/* Falling */
};

&uart3 { /* Console and IrDA /dev/ttyO2 */
	dtr-gpio = <&gpio1 21 GPIO_ACTIVE_HIGH>;	/* DTR line on external RS232 interface */
};

&mcbsp1 { /* FM Transceiver PCM */
	status = "ok";
	#sound-dai-cells = <0>;
	pinctrl-names = "default";
	pinctrl-0 = <&mcbsp1_pins>;
};

&mcbsp2 { /* TPS65950 I2S */
	status = "ok";
	pinctrl-names = "default";
	pinctrl-0 = <&mcbsp2_pins>;
};

&mcbsp3 { /* Bluetooth PCM */
	status = "ok";
	#sound-dai-cells = <0>;
	pinctrl-names = "default";
	pinctrl-0 = <&mcbsp3_pins>;
};

&mcbsp4 { /* GSM voice PCM */
	status = "ok";
	#sound-dai-cells = <0>;
	pinctrl-names = "default";
	pinctrl-0 = <&mcbsp4_pins>;
};

&twl_audio {
	codec {
		pinctrl-names = "default", "inactive";
		pinctrl-0 = <&mcbsp4_twl_active>;	/* twl voice is actively driving the DX line */
		pinctrl-1 = <&mcbsp4_twl_inactive>;	/* twl voice is tristate */
	};
};

/* Needed to power the DPI pins */

&vpll2 {
	regulator-always-on;
};

&control_devconf1 {
	pinctrl-name = "default";
	pinctrl-0 = < &tv_acbias_pins>;

	tv_acbias_pins: pinmux_tv_acbias_pins {
		pinctrl-single,bits = <
			0 0x40800 0x40800
		>;
	};
};

&gpmc {
	nand@0,0 {
		ti,nand-ecc-opt = "ham1"; /* stay compatible with our old u-boot (does not support bch8) */

		kernel@280000 {
			reg = <0x280000 0x600000>;
		};

		filesystem@a80000 {
			reg = <0x880000 0>;     /* 0 = MTDPART_SIZ_FULL */
		};
	};
};

/ {
	/* pinmux for devconf0 */
	control_devconf0: pinmux@48002274 {
		compatible = "pinctrl-single";
		reg = <0x48002274 4>;   /* CONTROL_DEVCONF1 */
		#address-cells = <1>;
		#size-cells = <0>;
		pinctrl-single,bit-per-mux;
		pinctrl-single,register-width = <32>;
		pinctrl-single,function-mask = <0x5f>;	/* CLK */
	};
};

&control_devconf0 {
	pinctrl-names = "default";
	pinctrl-0 = <&mcbsp1_defconf0>;

	mcbsp1_defconf0: pinmux_mcbsp1_defconf0 {
		/*                   offset bits mask */
		pinctrl-single,bits = <0x00 0x08 0x5f>;	/* set MCBSP1_CLKR_MASK */
	};
};
